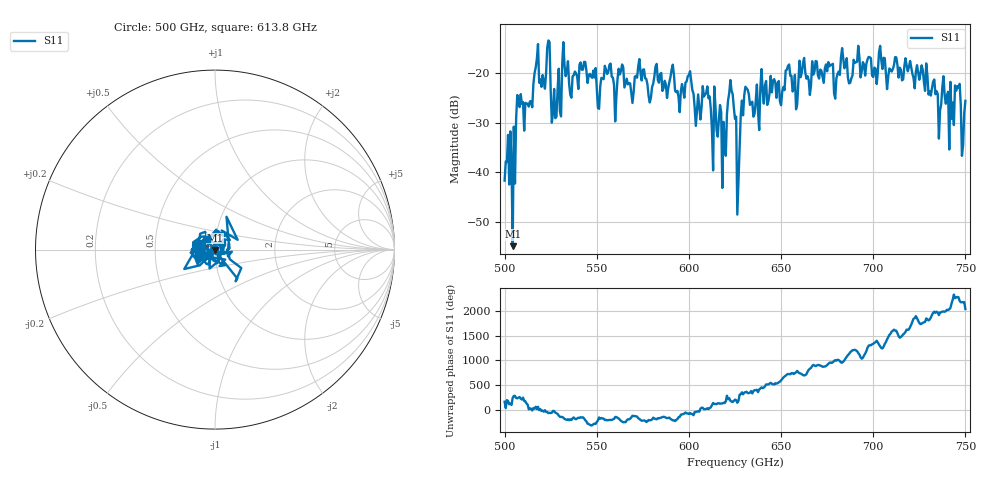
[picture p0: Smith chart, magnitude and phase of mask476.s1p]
!Created with skrf (http://scikit-rf.org).
# GHz S MA R 50.0
!freq magS11 angS11
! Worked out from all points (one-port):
!   401 points, 500 GHz to 750 GHz, reference 50 ohm
!   lowest |S11| = -54.8 dB at 504.4 GHz (marker M1), VSWR 1.00, Z = 49.9 - j0.17 ohm
!   |S11| at or under -10 dB: start of sweep to end of sweep
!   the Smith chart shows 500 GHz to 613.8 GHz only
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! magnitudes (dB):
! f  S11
! 500 GHz  -41.7
! 504.4 GHz  -54.8
! 507.5 GHz  -25.2
! 513.8 GHz  -25.8
! 516.9 GHz  -18.9
! 520.6 GHz  -20.5
! 523.8 GHz  -13.5
! 526.9 GHz  -23.3
! 531.2 GHz  -18.3
! 551.2 GHz  -27.3
! 556.2 GHz  -19.9
! 560 GHz  -29.8
! 562.5 GHz  -20.4
! 578.8 GHz  -26.0
! 590.6 GHz  -19.3
! 593.8 GHz  -23.7
! 608.8 GHz  -24.4
! 619.4 GHz  -33.5
! 622.5 GHz  -21.5
! 625 GHz  -29.3
! 627.5 GHz  -35.2
! 631.2 GHz  -23.1
! 656.2 GHz  -23.8
! 680 GHz  -21.1
! 683.8 GHz  -17.3
! 687.5 GHz  -22.0
! 718.8 GHz  -19.7
! 750 GHz  -25.7
